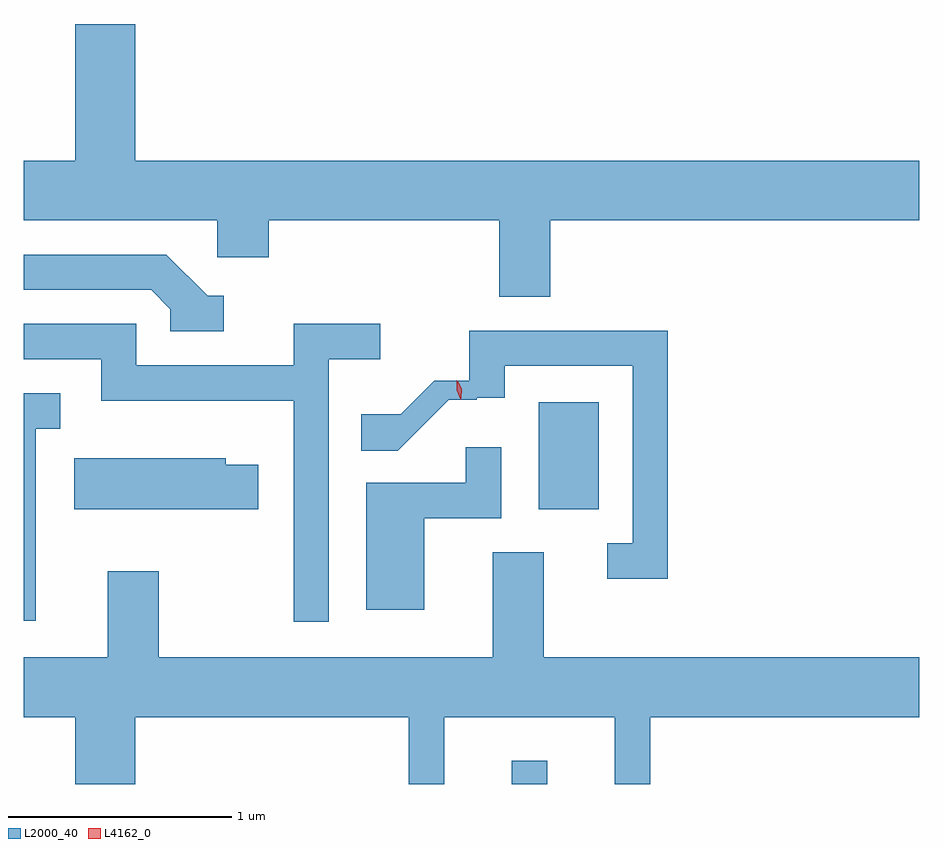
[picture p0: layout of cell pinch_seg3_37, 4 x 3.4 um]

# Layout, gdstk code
import gdstk
lib = gdstk.Library(unit=1e-6, precision=1e-09)
def R(c, l, rs):  # rectangles x0, y0, x1, y1
    for r in rs: c.add(gdstk.rectangle(r[:2], r[2:], *l))
def P(c, l, *ps):  # polygons
    for p in ps: c.add(gdstk.Polygon(p, *l))
L2000_40 = (2000, 40)
L4162_0 = (4162, 0)

pinch_seg3_37 = lib.new_cell('pinch_seg3_37')
R(pinch_seg3_37, L2000_40, [(1875.366,1218.958,1875.524,1219.063), (1875.486,1220.186,1875.754,1220.664)])
P(pinch_seg3_37, L2000_40, [(1875.539,1221.476),(1877.186,1221.476),(1877.186,1221.744),(1873.684,1221.744),(1873.684,1222.354),(1873.416,1222.354),(1873.416,1221.744),(1873.186,1221.744),(1873.186,1221.476),(1874.051,1221.476),(1874.051,1221.311),(1874.279,1221.311),(1874.279,1221.476),(1875.311,1221.476),(1875.311,1221.136),(1875.539,1221.136)],
  [(1874.078,1221.139),(1874.007,1221.139),(1873.822,1221.324),(1873.186,1221.324),(1873.186,1221.166),(1873.754,1221.166),(1873.841,1221.079),(1873.841,1220.981),(1874.078,1220.981)],
  [(1874.549,1220.856),(1874.778,1220.856),(1874.778,1221.014),(1874.391,1221.014),(1874.391,1220.829),(1873.689,1220.829),(1873.689,1221.014),(1873.186,1221.014),(1873.186,1220.856),(1873.531,1220.856),(1873.531,1220.671),(1874.391,1220.671),(1874.391,1219.683),(1874.549,1219.683)],
  [(1876.064,1220.984),(1875.176,1220.984),(1875.176,1220.76),(1875.02,1220.76),(1874.87,1220.61),(1874.693,1220.61),(1874.693,1220.448),(1874.857,1220.448),(1875.085,1220.676),(1875.209,1220.676),(1875.209,1220.684),(1875.334,1220.684),(1875.334,1220.826),(1875.906,1220.826),(1875.906,1220.034),(1875.793,1220.034),(1875.793,1219.876),(1876.064,1219.876)],
  [(1873.239,1220.546),(1873.348,1220.546),(1873.348,1220.704),(1873.186,1220.704),(1873.186,1219.688),(1873.239,1219.688)],
  [(1874.974,1220.146),(1875.319,1220.146),(1875.319,1220.463),(1875.161,1220.463),(1875.161,1220.304),(1874.716,1220.304),(1874.716,1219.736),(1874.974,1219.736)],
  [(1874.234,1220.384),(1874.089,1220.384),(1874.089,1220.414),(1873.411,1220.414),(1873.411,1220.186),(1874.234,1220.186)],
  [(1873.684,1219.256),(1874.906,1219.256),(1874.906,1218.958),(1875.064,1218.958),(1875.064,1219.256),(1875.826,1219.256),(1875.826,1218.958),(1875.984,1218.958),(1875.984,1219.256),(1877.186,1219.256),(1877.186,1219.524),(1875.509,1219.524),(1875.509,1219.994),(1875.281,1219.994),(1875.281,1219.524),(1873.789,1219.524),(1873.789,1219.909),(1873.561,1219.909),(1873.561,1219.524),(1873.186,1219.524),(1873.186,1219.256),(1873.416,1219.256),(1873.416,1218.958),(1873.684,1218.958)])
P(pinch_seg3_37, L4162_0, [(1875.138,1220.676),(1875.12,1220.717),(1875.12,1220.761),(1875.121,1220.762),(1875.121,1220.761),(1875.14,1220.721),(1875.139,1220.676),(1875.139,1220.676)],
  [(1875.14,1220.682),(1875.14,1220.682),(1875.124,1220.718),(1875.126,1220.756),(1875.126,1220.757),(1875.127,1220.756),(1875.143,1220.721),(1875.141,1220.682)])

lib.write_gds('pinch_seg3_37.gds')
